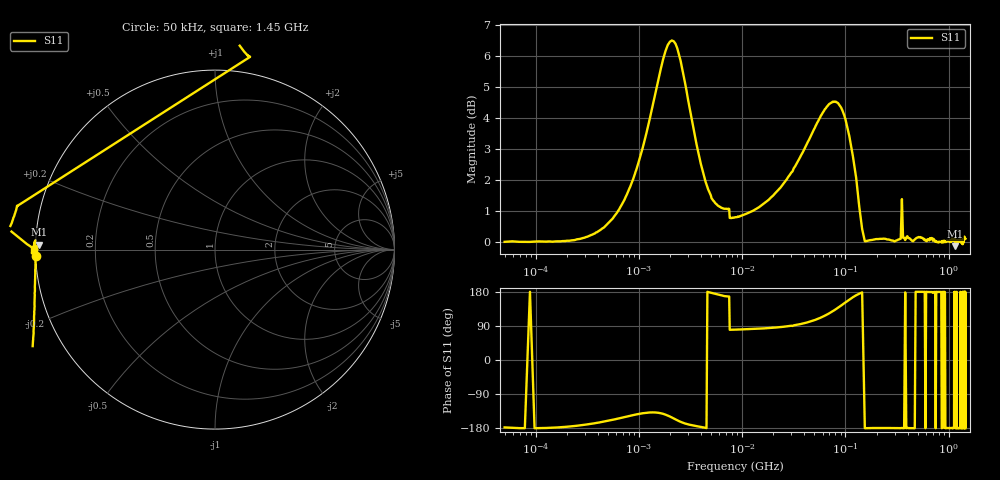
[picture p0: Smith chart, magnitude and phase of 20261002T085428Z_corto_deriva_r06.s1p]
! piloto_deriva / corto_deriva / r06
# HZ S RI R 50
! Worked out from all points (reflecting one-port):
!   501 points, 50 kHz to 1.45 GHz, reference 50 ohm
!   lowest |S11| = -0.2 dB at 1.153 GHz (marker M1), VSWR 115.61, Z = 0.433 + j0.691 ohm
!   phase of S11 starts at -178 deg and turns -2 deg over the sweep
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50000  -0.9982 -0.0368
183000  -1 -0.052
363500  -1.004 -0.2244
658000  -1.014 -0.5105
1180000  -1.134 -0.9744
1630000  -1.47 -1.209
1990000  -1.802 -1.082
2170000  -1.897 -0.9156
2440000  -1.899 -0.6444
3070000  -1.633 -0.2699
4330000  -1.265 -0.031
7300000  -1.102 0.2416
7750000  0.1944 1.075
8560000  0.1887 1.078
1.9e7  0.1096 1.173
3.16e7  -0.0341 1.313
4.69e7  -0.3226 1.455
6.76e7  -0.86 1.419
7.93e7  -1.14 1.236
9.37e7  -1.355 0.8991
9.82e7  -1.383 0.7837
1e8  -1.391 0.7387
1.18e8  -1.331 0.3395
1.36e8  -1.134 0.1004
1.63e8  -1.003 -0.00438
4.06e8  -1.013 -0.00395
1.153e9  -0.9825 0.0272
1.45e9  -1.011 -0.00131
